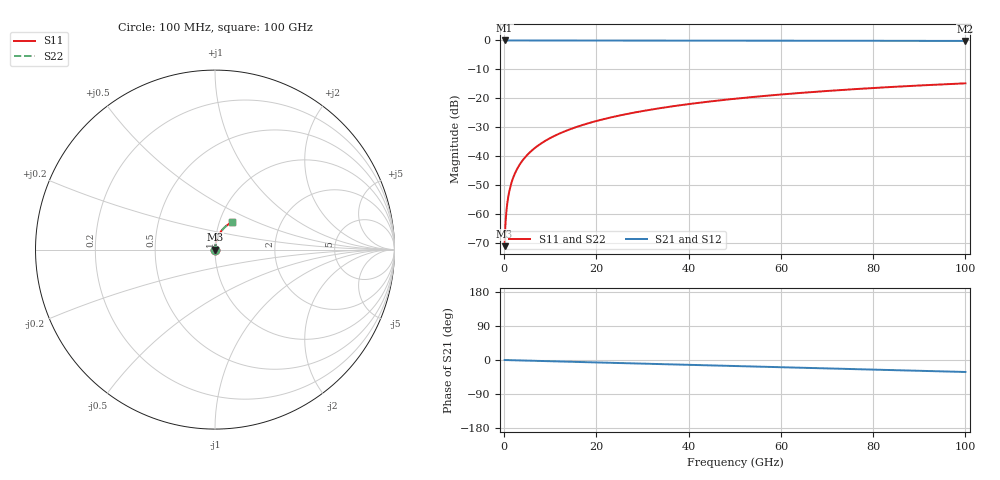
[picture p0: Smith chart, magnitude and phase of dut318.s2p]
! Touchstone file exported from HFSS 2026.1.0
!  File:  C:/ffzhzh/LocalFiles/Ansys_Project_Files/temp_train_TSV_318_1783509468_31944.aedt
!  Generated:  07:19:13 PM Jul  8, 2026
!  Design:  TSV
!  Project:  temp_train_TSV_318_1783509468_31944
! Variables:
!  h_bsmrdl = 2um
!  h_ox = 20um
!  h_rdl = 5um
!  h_sub = 54.02um
!  h_tmrdl = 5um
!  h_tsv = 54.02um
!  h_via = 3um
!  l_bsmrdl = 300um
!  l_sub = 414.84um
!  l_tmrdl = 200um
!  m_sub = 200um
!  pitch = 47.87um
!  r_tsv = 7.42um
!  s_tmrdl = 10um
!  w_bsmrdl = 18um
!  w_sub = 500um
!  w_tmrdl = 12um
!  x_tsv_center1 = 206um
!  x_tsv_center2 = 524um
!  x_tsv_center3 = 736um
!  x_tsv_center4 = 1054um
!  x_tsv_center5 = 1266um
!  x_tsv_center6 = 1584um
# GHz S MA R 50.000000
! Terminal data exported
! Port[1] = TSV1_1_T1
! Port[2] = TSV1_1_T2
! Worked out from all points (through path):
!   1000 points, 100 MHz to 100 GHz, reference 50 ohm
!   highest |S21| = 0.00 dB at 100 MHz (marker M1); lowest = -0.2 dB at 100 GHz (marker M2)
!   group delay of S21, straight-line fit = 878 fs
!   lowest |S11| = -71.1 dB at 100 MHz (marker M3), VSWR 1.00, Z = 50 + j0.0235 ohm
!   |S11| at or under -10 dB: start of sweep to end of sweep
!   |S22| runs from -71.1 to -14.8 dB; largest |S21 - S12| = 2.7e-15
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0.1  0.0002778 57.9  0.9999 -0.0  0.9999 -0.0  0.0002778 57.9
! Gamma 0 0 0 0
! Port Impedance 50 0 50 0
0.4  0.000926 78.4  0.9998 -0.1  0.9998 -0.1  0.000926 78.4
0.7  0.001572 82.0  0.9998 -0.2  0.9998 -0.2  0.001572 82.0
0.8  0.001786 82.6  0.9998 -0.3  0.9998 -0.3  0.001786 82.6
1  0.002215 83.4  0.9998 -0.3  0.9998 -0.3  0.002215 83.4
1.3  0.002855 84.2  0.9997 -0.4  0.9997 -0.4  0.002855 84.2
1.7  0.003701 84.7  0.9997 -0.6  0.9997 -0.6  0.003701 84.7
2.3  0.004953 85.0  0.9996 -0.8  0.9996 -0.8  0.004953 85.0
3  0.006396 85.2  0.9995 -1.0  0.9995 -1.0  0.006396 85.2
3.8  0.008031 85.3  0.9995 -1.2  0.9995 -1.2  0.008031 85.3
4.8  0.01006 85.3  0.9994 -1.6  0.9994 -1.6  0.01006 85.3
6  0.0125 85.3  0.9993 -1.9  0.9993 -1.9  0.0125 85.3
8.8  0.01816 84.8  0.9991 -2.8  0.9991 -2.8  0.01816 84.8
12.4  0.02538 84.0  0.9988 -4.0  0.9988 -4.0  0.02538 84.0
16.8  0.03416 82.8  0.9984 -5.4  0.9984 -5.4  0.03416 82.8
24.2  0.0488 80.8  0.9976 -7.8  0.9976 -7.8  0.0488 80.8
33.4  0.06674 78.1  0.9963 -10.7  0.9963 -10.7  0.06674 78.1
41.2  0.08166 75.7  0.995 -13.2  0.995 -13.2  0.08166 75.7
50.1  0.09832 73.0  0.9934 -16.0  0.9934 -16.0  0.09832 73.0
66.7  0.1281 67.9  0.9897 -21.2  0.9897 -21.2  0.1281 67.9
83.4  0.1561 62.8  0.9855 -26.4  0.9855 -26.4  0.1561 62.8
100  0.1814 57.7  0.9809 -31.6  0.9809 -31.6  0.1814 57.7
